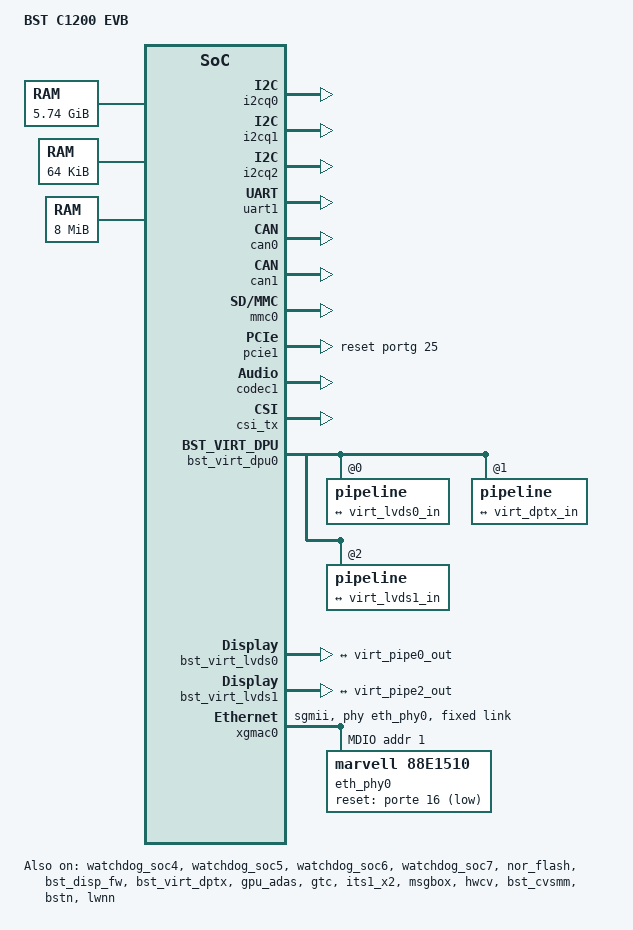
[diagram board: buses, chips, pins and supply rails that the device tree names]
// SPDX-License-Identifier: GPL-2.0+
/dts-v1/;
#include "bstc1200.dtsi"

/ {
	compatible = "bst,c1200";
	model = "BST C1200 EVB";

	chosen {
		bootargs = "earlycon=uart8250,mmio32,0x20008000 console=ttyS0,115200n8 rdinit=/sbin/init root=/dev/ram rw init=/linuxrc rodata=n";
		stdout-path = "uart0";
	};

	memory@8c0000000 {
		device_type = "memory";
		reg = < 0x8 0x06a10000 0x0 0x100000
			0x8 0x10000000 0x0 0x30000000
			0x8 0xc0000000 0x1 0x0
			0xc 0x08000000 0x0 0x38000000
			0x8 0x254000 0x0 0x1000
			0x8 0x151000 0x0 0x1000
			0x8 0x1400000 0x0 0x1000000
			0x8 0x50000000 0x0 0x03000000
			0xc 0x50000000 0x0 0x03000000
		>;
	};

	// eMMC 64K
	memory@5160000 {
		device_type = "memory";
		reg = <0x0 0x5160000 0x0 0x10000>;
	};
	memory@80e800000 {
		device_type = "memory";
		reg = <0x8 0x0e800000 0x0 0x800000>;
	};
	reserved-memory {
		#address-cells = <2>;
		#size-cells = <2>;
		ranges;

		its_table_reserved: its_table@806a10000 {
			reg = <0x8 0x06a10000 0x0 0x100000>;
			no-map;
		};

		scmi_buf_reserved: scmi_buf@800151000 {
			compatible = "shared-dma-pool";
			reg = <0x8 0x151000 0x0 0x1000>;
			no-map;
		};



		bst_nor_flash_code_reserved: bst_nor_flash@800130000 {
			compatible = "shared-dma-pool";
			reg = <0x8 0x130000 0x0 0x10000>;
			no-map;
		};


		bst_sramemmc0_reserved: bst_sramemmc0@5160000{
			compatible = "shared-dma-pool";
			reg = <0x0 0x5160000 0x0 0x10000>;
			no-map;
		};

		bst_dpu_reserved: bst_dpu_cma@940000000 {
			compatible = "shared-dma-pool";
			reg = <0x9 0x40000000 0x0 0x4000000>;
			reusable;
		};

		/* gpu memory pool */
		gpu_dma_buf_reserved: gpu_cma@944000000 {
			compatible = "shared-dma-pool";
			align-shift = <8>;
			reg = <0x9 0x44000000 0x0 0x8000000>;
			reusable;
		};

		bst_ipc_reserved: bst_ipc@80ff00000 {
			compatible = "shared-dma-pool";
			reg = <0x8 0x0ff00000 0x0 0x100000>;
			no-map;
		};

		bstn_fw_code_reserved: bstn@810000000 {
			compatible = "shared-dma-pool";
			reg = <0x8 0x10000000 0x0 0x2000000>;
			no-map;
		};

		bst_lwnn_fw_code_reserved: bst_lwnn@812000000 {
			compatible = "shared-dma-pool";
			reg = <0x8 0x12000000 0x0 0x8000000>;
			no-map;
		};

		bst_cv_reserved: bst_cv_cma@81a000000 {
			compatible = "shared-dma-pool";
			reg = <0x8 0x1a000000 0x0 0x2000000>;
			align-shift = <8>;
			reusable;
		};

		bst_debug_reserved: bst_debug@81c000000 {
			compatible = "shared-dma-pool";
			reg = <0x8 0x1c000000 0x0 0x5000000>;
			no-map;
		};

		/* coreip public memory pool */
		coreip_reserved: reserved {
			compatible = "shared-dma-pool";
			align-shift = <8>;
			reg = <0xc 0x08000000 0x0 0x38000000>;
			reusable;
			linux,cma-heap;
		};

		/* Reserved for exchange message between driver and firmware */
		isp_fw_msg_rsv: bst_isp_msg@821000000 {
			reg = <0x8 0x21000000 0x0 0x1000000>;
			no-map;
		};

		/* Reserved exclusively for firmware */
		isp_fw_buf_rsv: bst_isp_buf@822000000 {
			reg = <0x8 0x22000000 0x0 0x15000000>;
			no-map;
		};

		/*reserved for global secure dmabuf */
		global_dmabuf_secure_reserved: global_secure_dmabuf@850000000 {
			compatible = "shared-dma-pool";
			reg = <0x8 0x50000000 0x0 0x03000000
                   0xc 0x50000000 0x0 0x03000000
			>;
			no-map;
		};
		/*reserved for global normal dmabuf */
		global_dmabuf_normal_reserved: global_normal_dmabuf@837000000 {
			compatible = "shared-dma-pool";
			reg = <0x8 0x37000000 0x0 0x09000000>;
			no-map;
		};

		bst_optee_reserved: bst_optee@801400000 {
			compatible = "shared-dma-pool";
			reg = <0x8 0x1400000 0x0 0x1000000>;
			no-map;
		};
		bst_usb_virt_reserved: usb_virt@80e800000 {
			reg = <0x8 0x0e800000 0x0 0x800000>;
			no-map;
		};
	};


/****************************************************************************************/
/*	c0_lockstep/c1_split	1 + 5: c0 0x0 + c0 0x100 \ c1 0x0 ~ 0x300
 *	c0_lockstep/c1_lockstep	1 + 3: c0 0x0 + c0 0x100 \ c1 0x0 ~ 0x100
 *	split			2 + 6: c0 0x0 ~ 0x100 + c0 0x200 ~ 0x300 \ c1 0x0 ~ 0x300
 *	split			4 + 4: c0 0x0 ~ 0x300 + c1 0x0 ~ 0x300
 */
/****************************************************************************************/
	cpus {
		#address-cells = <1>;
		#size-cells = <0>;

		/* cluster 0
		cpu_l0: cpu@0 {
			compatible = "arm,cortex-a78", "arm,armv8";
			device_type = "cpu";
			enable-method = "psci";
			next-level-cache = <&l2_0>;
			reg = <0x0>;
			freq-domain = <&cpufreq 0>;
		};
		cpu_l1: cpu@1 {
			compatible = "arm,cortex-a78", "arm,armv8";
			device_type = "cpu";
			enable-method = "psci";
			next-level-cache = <&l2_0>;
			reg = <0x100>;
			freq-domain = <&cpufreq 0>;
		};
		cpu_l2: cpu@2 {
			compatible = "arm,cortex-a78", "arm,armv8";
			device_type = "cpu";
			enable-method = "psci";
			next-level-cache = <&l2_0>;
			reg = <0x200>;
			freq-domain = <&cpufreq 0>;
		};
		cpu_l3: cpu@3 {
			compatible = "arm,cortex-a78", "arm,armv8";
			device_type = "cpu";
			enable-method = "psci";
			next-level-cache = <&l2_0>;
			reg = <0x300>;
			freq-domain = <&cpufreq 0>;
		};

		l2_0: l2-cache-0 {
			compatible = "cache";
		};*/

		/* cluster 1 */
		cpu_b0: cpu@100 {
			compatible = "arm,cortex-a78", "arm,armv8";
			device_type = "cpu";
			enable-method = "psci";
			next-level-cache = <&l2_1>;
			reg = <0x10000>;
			freq-domain = <&cpufreq 1>;
		};
		cpu_b1: cpu@101 {
			compatible = "arm,cortex-a78", "arm,armv8";
			device_type = "cpu";
			enable-method = "psci";
			next-level-cache = <&l2_1>;
			reg = <0x10100>;
			freq-domain = <&cpufreq 1>;
		};
		cpu_b2: cpu@102 {
			compatible = "arm,cortex-a78", "arm,armv8";
			device_type = "cpu";
			enable-method = "psci";
			next-level-cache = <&l2_1>;
			reg = <0x10200>;
			freq-domain = <&cpufreq 1>;
		};
		cpu_b3: cpu@103 {
			compatible = "arm,cortex-a78", "arm,armv8";
			device_type = "cpu";
			enable-method = "psci";
			next-level-cache = <&l2_1>;
			reg = <0x10300>;
			freq-domain = <&cpufreq 1>;
		};

		l2_1: l2-cache-1 {
			compatible = "cache";
		};
	};

	psci {
		compatible	= "arm,psci-1.0";
		method		= "smc";
		cpu_on		= <0xC4000003>;
		cpu_off		= <0x84000002>;
		cpu_suspend	= <0xC4000001>;
	};



	firmware {
		optee {
                compatible = "linaro,optee-tz";
                method = "smc";
                chip-number = <2>;
        };
	};

	tee {
		#address-cells = <0x2>;
		#size-cells = <0x2>;
		reg = <0x0 0x18060000 0x0 0x1f000>;
		memory-region = <&bst_optee_reserved>;
		mbox-names = "bst-mbox";
		chip-number = <2>;
	};
};



&firmware_scmi {

		shmem = <&scmi_buf_reserved>;
		reg = <0x0 0x20011014 0 0x14>;
		status = "okay";

		scmi_voltage: protocol@17 {

			regulators {
				#address-cells = <1>;
				#size-cells = <0>;
				v_qmmc: regulator {
					reg = <0>;
					regulator-name = "voltage_qmmc";
					regulator-min-microvolt = <1800000>;
					regulator-max-microvolt = <3300000>;
					regulator-always-on;
				};
			};
		};


		scmi_pinctrl: protocol@19 {
			isp_pinctrl:isp_pinctrl {
				mux {
					pins = "WK_GPIO33", "WK_GPIO34","WK_GPIO35";
					function = "isp";
				};
			};
			deser_pinctrl: deser_pinctrl {
				mux {
					pins = "WK_GPIO15", "WK_GPIO20","WK_GPIO21";
					function = "gpio";
				};
			};
			hpd_pinctrl:hpd_pinctrl {
				mux {
					pins = "EDP_HPD";
					function = "edp";
				};
			};
			lvds0_pinconfig:lvds0_pinconfig {
				config {
					pins = "LVDS0_ODD_TX0", "LVDS0_ODD_TX1", "LVDS0_ODD_TX2", "LVDS0_ODD_TX3", "LVDS0_ODD_CLKN";
					input-enable;
				};
			};
			lvds1_pinconfig:lvds1_pinconfig {
				config {
					pins = "LVDS0_EVEN_TX0", "LVDS0_EVEN_TX1", "LVDS0_EVEN_TX2", "LVDS0_EVEN_TX3", "LVDS0_EVEN_CLKN";
					input-enable;
				};
			};
		};
};



&i2c0 {
	status = "disable";
};
&i2c1 {
	status = "disable";
};
&i2c2 {
	status = "disable";
};
&i2c3 {
	status = "disable";
};
&i2c4 {
	status = "disable";
};
&i2c5 {
	status = "disable";
};
&i2c6 {
	status = "disable";
};
&i2c7 {
	status = "disable";
};
&i2cq0 {
	status = "okay";
};
&i2cq1 {
	status = "okay";
};
&i2cq2 {
	status = "okay";
};

&uart0 {
	status = "disable";
};
&uart1 {
	status = "okay";
};
&uart2 {
	status = "disable";
};
&uart3 {
	status = "disable";
};

&spi0 {
	status = "disable";
};
&spi1 {
	status = "disable";
};
&spi2 {
	status = "disable";
};
&spi3 {
	status = "disable";
};

&i2s0 {
	status = "disable";
};
&i2s1 {
	status = "disable";
};
&i2s2 {
	status = "disable";
};
&i2s3 {
	status = "disable";
};

&tdm0 {
	status = "disable";
};
&tdm1 {
	status = "disable";
};
&tdm2 {
	status = "disable";
};
&tdm3 {
	status = "disable";
};
&watchdog0 {
        status = "disable";
};
&watchdog1 {
        status = "disable";
};
&watchdog2 {
        status = "disable";
};
&watchdog3 {
        status = "disable";
};
&watchdog_soc0 {
        status = "disable";
};
&watchdog_soc1 {
        status = "disable";
};
&watchdog_soc2 {
        status = "disable";
};
&watchdog_soc3 {
        status = "disable";
};

&watchdog_soc4 {
        status = "okay";
};
&watchdog_soc5 {
        status = "okay";
};
&watchdog_soc6 {
        status = "okay";
};
&watchdog_soc7 {
        status = "okay";
};
&watchdog_db0 {
        status = "disable";
};
&watchdog_db1 {
        status = "disable";
};
&watchdog_db2 {
        status = "disable";
};
&watchdog_db3 {
        status = "disable";
};

&lsp0_pwm0 {
	status = "disable";
};
&lsp1_pwm0 {
	status = "disable";
};

&gpio0 {
	status = "okay";
	pinctrl-names = "default";
	pinctrl-0 = <&isp_pinctrl &deser_pinctrl>;
};

&porta {
		interrupts = <GIC_SPI 119 (IRQ_TYPE_LEVEL_HIGH)>;
};

&gpio1 {
	status = "okay";
};

&portb {
		interrupts = <GIC_SPI 119 (IRQ_TYPE_LEVEL_HIGH)>;
};

&gpio2 {
	status = "okay";
};

&portc {
		interrupts = <GIC_SPI 119 (IRQ_TYPE_LEVEL_HIGH)>;
};
&gpio3 {
	status = "okay";
};

&portd {
		interrupts = <GIC_SPI 119 (IRQ_TYPE_LEVEL_HIGH)>;
};
&gpio4 {
	status = "okay";
};

&porte {
		interrupts = <GIC_SPI 119 (IRQ_TYPE_LEVEL_HIGH)>;
};
&gpio5 {
	status = "okay";
};

&portf {
		interrupts = <GIC_SPI 119 (IRQ_TYPE_LEVEL_HIGH)>;
};
&gpio6 {
	status = "okay";
};

&portg {
		interrupts = <GIC_SPI 119 (IRQ_TYPE_LEVEL_HIGH)>;
};
&gpio7 {
	status = "okay";
};

&porth {
		interrupts = <GIC_SPI 119 (IRQ_TYPE_LEVEL_HIGH)>;
};

&gpiokeys {
	status = "disable";
};

&can0 {
	status = "okay";
};
&can1 {
	status = "okay";
};

&swdma0 {
	status = "disable";
};

&gdma0 {
        status = "okay";
        dma-channels = <16>;
        snps,chan-start = <16>;
        snps,block-size = <1048576 1048576 1048576 1048576 1048576 1048576 1048576 1048576
                           1048576 1048576 1048576 1048576 1048576 1048576 1048576 1048576>;
        snps,priority = <31 30 29 28 27 26 25 24
                        23 22 21 20 19 18 17 16>;
        interrupts =    <   GIC_SPI 401 (GIC_CPU_MASK_SIMPLE(8) | IRQ_TYPE_LEVEL_HIGH)
                            GIC_SPI 402 (GIC_CPU_MASK_SIMPLE(8) | IRQ_TYPE_LEVEL_HIGH)
                            GIC_SPI 403 (GIC_CPU_MASK_SIMPLE(8) | IRQ_TYPE_LEVEL_HIGH)
                            GIC_SPI 404 (GIC_CPU_MASK_SIMPLE(8) | IRQ_TYPE_LEVEL_HIGH)
                            GIC_SPI 405 (GIC_CPU_MASK_SIMPLE(8) | IRQ_TYPE_LEVEL_HIGH)
                            GIC_SPI 406 (GIC_CPU_MASK_SIMPLE(8) | IRQ_TYPE_LEVEL_HIGH)
                            GIC_SPI 407 (GIC_CPU_MASK_SIMPLE(8) | IRQ_TYPE_LEVEL_HIGH)
                            GIC_SPI 408 (GIC_CPU_MASK_SIMPLE(8) | IRQ_TYPE_LEVEL_HIGH)
                            GIC_SPI 409 (GIC_CPU_MASK_SIMPLE(8) | IRQ_TYPE_LEVEL_HIGH)
                            GIC_SPI 410 (GIC_CPU_MASK_SIMPLE(8) | IRQ_TYPE_LEVEL_HIGH)
                            GIC_SPI 411 (GIC_CPU_MASK_SIMPLE(8) | IRQ_TYPE_LEVEL_HIGH)
                            GIC_SPI 412 (GIC_CPU_MASK_SIMPLE(8) | IRQ_TYPE_LEVEL_HIGH)
                            GIC_SPI 413 (GIC_CPU_MASK_SIMPLE(8) | IRQ_TYPE_LEVEL_HIGH)
                            GIC_SPI 414 (GIC_CPU_MASK_SIMPLE(8) | IRQ_TYPE_LEVEL_HIGH)
                            GIC_SPI 415 (GIC_CPU_MASK_SIMPLE(8) | IRQ_TYPE_LEVEL_HIGH)
                            GIC_SPI 416 (GIC_CPU_MASK_SIMPLE(8) | IRQ_TYPE_LEVEL_HIGH)>;

};

&usbdwc3{
	//iommus = <&mmu600_soc 1>;
};
&usbdwc2{
	//iommus = <&mmu600_soc 2>;
};
&usbdrd_dwc3 {
	status = "disable";
};

&dwc3 {
	status = "disable";
};

&nor_flash {
	memory-region = <&bst_nor_flash_code_reserved>;
	status = "okay";
};

&mmc0 {
	memory-region = <&bst_sramemmc0_reserved>;
	status = "okay";
};
&mmc1 {
	status = "disable";
};

&mmu600_pcie {
	status = "disable";
};
&mmu600_codec {
	status = "disable";
};
&mmu600_soc {
	status = "disable";
};
&mmu600_coreip {
	status = "disable";
};

&ufs {
	status = "disable";
};

&pcie_phy {
	dmc-lane = <0x1>; /* bit0: 1=2x2ports, 0=1x4ports */
	dmc-mode = <0x3>; /* (bit1 for ctl0)/(bit0 for ctl1):1=RC-mode, 0=EP-mode */
	pcie-ctl0 = <1>;  /* Controller reset */
	pcie-ctl1 = <1>;  /* Controller reset */
	pcie-ref-clk0 = <1>; /* 0=onchip_clk, 1=pad_clk*/
	pcie-ref-clk1 = <1>; /* 0=onchip_clk, 1=pad_clk, 2=repeat_clk */
};

&pcie1 {
	status = "okay";
	reset-gpio = <&portg 25 GPIO_ACTIVE_HIGH>;
	reset-gpio-active-high;
	pre-init;
};

&codec0 {
	status = "disable";
};
&codec1 {
	status = "okay";
};

&mipi_dsi0 {
	status = "disable";
};
&mipi_dsi1 {
	status = "disable";
};
&mipi_csr {
	status = "disable";
};

&bst_dptx {
	status = "disable";
    pinctrl-names = "default";
    pinctrl-0 = <&hpd_pinctrl>;
};

&xrp0 {
	status = "disable";
};

&csi_tx {
	status = "okay";
};

&bst_dpu0 {
	status = "disable";
	memory-region = <&bst_dpu_reserved>;
};
&bst_dpu2 {
	status = "disable";
	memory-region = <&bst_dpu_reserved>;
};
&bst_dpu1 {
	status = "disable";
	memory-region = <&bst_dpu_reserved>;
};

&lvds_conn {
	status = "disable";
	pinctrl-names = "default";
	pinctrl-0 = <&lvds0_pinconfig &lvds1_pinconfig>;
};

&bst_disp_fw {
	status = "okay";
	msgbx-pid = "CPU_4"; /* "CPU_4" - "CPU_7" */
};

&bst_virt_dpu0 {
	status = "okay";
	memory-region = <&bst_dpu_reserved>;
	os-type = "ADAS_LINUX";
	pipeline@0 {
		status = "okay";
		layer-num = <4>;
		dc-type = "DEVICE_TYPE_VIRT_DC_PIPE1";
		port@0 {
			virt_pipe0_out: endpoint@0 {
				remote-endpoint = <&virt_lvds0_in>;
			};
		};
	};
	pipeline@1 {
		status = "okay";
		dc-type = "DEVICE_TYPE_VIRT_DC_PIPE2";
		layer-num = <1>;
		port@0 {
			virt_pipe1_out: endpoint@0 {
				remote-endpoint = <&virt_dptx_in>;
			};
		};
	};
	pipeline@2 {
		status = "okay";
		dc-type = "DEVICE_TYPE_VIRT_DC_PIPE3";
		layer-num = <1>;
		port@0 {
			reg = <0>;
			virt_pipe2_out: endpoint@0 {
				remote-endpoint = <&virt_lvds1_in>;
			};
		};
	};
};

&bst_virt_lvds0 {
	status = "okay";
	ports {
		port@0 {
			virt_lvds0_in: endpoint@0 {
				remote-endpoint = <&virt_pipe0_out>;
			};
		};
	};
};

&bst_virt_lvds1 {
	status = "okay";
	ports {
		port@0 {
			virt_lvds1_in: endpoint@0 {
				remote-endpoint = <&virt_pipe2_out>;
			};
		};
	};
};

&bst_virt_dptx {
	status = "okay";
	ports {
		port@0 {
			virt_dptx_in: endpoint@0 {
				remote-endpoint = <&virt_pipe1_out>;
			};
		};
	};
};

&gpu_ivi {
	status = "disable";
};

&gpu_adas {
	status = "okay";
};

&gpu_db {
	status = "disable";
};

&gpu_dma_buf {
	memory-region = <&gpu_dma_buf_reserved>;
};

&pinctrl {
	status = "disable";
};



&gtc {
	status = "okay";
};

&xgmac0 {
	status = "okay";
	max-speed = <1000>;
	snps,ps-speed = <1000>;
	phy-handle = <&eth_phy0>;
	extend-op = <20>;
	phy-mode = "sgmii";
	mac-mode = "gmii";
	fpe-hs = <0>;
	/*bypass;  //bool, set: bypass , non set : non bypass
	pinctrl-names = "default";
        pinctrl-0 = <&soc_xgmac_pinctrl>;*/
	fixed-link {
		speed = <1000>;
		full-duplex;
		pause;
	};
	mdio {
		compatible = "snps,dwmac-mdio";
		#address-cells = <1>;
		#size-cells = <0>;
		status = "okay";
		eth_phy0: eth_phy0@0 {
			compatible = "marvell,88E1510", "ethernet-phy-id0141.0DD1", "ethernet-phy-ieee802.3-c22";
			device_type = "ethernet-phy";
			max-speed = <1000>;
			reg = <0x1>;
			reset-active-low;
			reset-gpios = <&porte 16 1>; //gpio 144
			reset-assert-us = <20000>;
			reset-deassert-us = <20000>;
		};

	};
};

&hif {
	status = "disable";
};

&gic600 {
	status = "okay";
};

&its1_x2 {
	status = "okay";
	memory-region = <&its_table_reserved>;
};

&msgbox {
	status = "okay";
	spi-irq-num = <4>;
	filter-num = <8>;
	// id = <0x0>;
	// end0 and end1 spi irq
	interrupts =    <
			GIC_PPI 2 (GIC_CPU_MASK_SIMPLE(8) | IRQ_TYPE_LEVEL_LOW)
			GIC_PPI 3 (GIC_CPU_MASK_SIMPLE(8) | IRQ_TYPE_LEVEL_LOW)
			GIC_PPI 4 (GIC_CPU_MASK_SIMPLE(8) | IRQ_TYPE_LEVEL_LOW)
			GIC_PPI 15 (GIC_CPU_MASK_SIMPLE(8) | IRQ_TYPE_LEVEL_LOW)
            GIC_SPI 560 (IRQ_TYPE_LEVEL_HIGH)
            GIC_SPI 561 (IRQ_TYPE_LEVEL_HIGH)
            GIC_SPI 562 (IRQ_TYPE_LEVEL_HIGH)
            GIC_SPI 563 (IRQ_TYPE_LEVEL_HIGH)
            GIC_SPI 564 (IRQ_TYPE_LEVEL_HIGH)
            GIC_SPI 565 (IRQ_TYPE_LEVEL_HIGH)
            GIC_SPI 566 (IRQ_TYPE_LEVEL_HIGH)
            GIC_SPI 567 (IRQ_TYPE_LEVEL_HIGH)
            GIC_SPI 568 (IRQ_TYPE_LEVEL_HIGH)
            GIC_SPI 569 (IRQ_TYPE_LEVEL_HIGH)
            GIC_SPI 570 (IRQ_TYPE_LEVEL_HIGH)
            GIC_SPI 571 (IRQ_TYPE_LEVEL_HIGH)
            GIC_SPI 572 (IRQ_TYPE_LEVEL_HIGH)
            GIC_SPI 573 (IRQ_TYPE_LEVEL_HIGH)
            GIC_SPI 574 (IRQ_TYPE_LEVEL_HIGH)
            GIC_SPI 575 (IRQ_TYPE_LEVEL_HIGH)
			>;
	#mbox-cells = <0x1>;
};

&arm_pmu {
	status = "disable";
};

&hwcv {
	memory-region = <&coreip_reserved>;
	status = "okay";
};

&ipc {
	status = "okay";
	memory-region = <&bst_ipc_reserved>;
};
&mbox {
	status = "okay";
	memory-region = <&bst_ipc_reserved>;
};
&bst_cvsmm {
	status = "okay";
	iommus = <&mmu600_coreip 2>;
	dma-coherent;
};
&bstn {
	status = "okay";
	memory-region = <&coreip_reserved>;
	//iommus = <&mmu600_coreip 1>,<&mmu600_coreip 4>;
	//dma-coherent;
};
&lwnn {
	status = "okay";
	memory-region = <&coreip_reserved>;
};
&cv {
	status = "disable";
	memory-region = <&bst_cv_reserved>;
};
